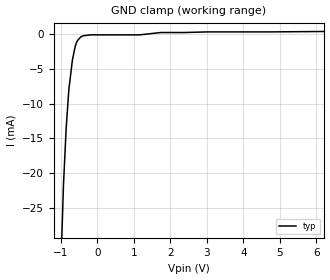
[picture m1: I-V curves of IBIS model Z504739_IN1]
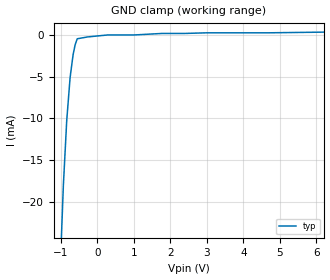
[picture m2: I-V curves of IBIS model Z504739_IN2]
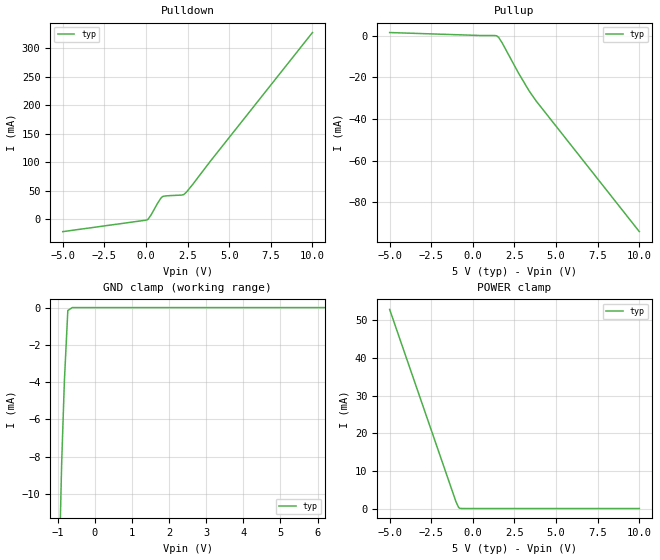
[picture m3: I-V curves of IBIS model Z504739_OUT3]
| YOU ARE ONLY AUTHORIZED TO USE THIS SOFTWARE
| ACCORDING TO LICENSOR'S LICENSE RESTRICTIONS.
[IBIS Ver] 3.1
[File Name] sn74ls90d.ibs
[File Rev] 2.0
[Source] Measured and created by ICX Technology
[Date] Friday 7/14/00 9:08:21 AM
[Copyright]
| (C) COPYRIGHT 1993-2000
| MENTOR GRAPHICS CORPORATION
| ICX STANDARD LIBRARY, ICX PROJECT MODELING,
| ICX CUSTOM MODELING, ICX VENDOR MODEL
| ALL RIGHTS RESERVED.
| THE FOLLOWING ARE TRADEMARKS OR SERVICE MARKS OF
| MENTOR GRAPHICS CORPORATION:ICX (R), ICX STANDARD
| LIBRARY(R), ICX PROJECT MODELING(R), ICX CUSTOM
| MODELING(R), qualityIBIS(TM), MODELVIEWER(TM),
| AND MODELEDITOR(TM)
| ALL COPIES OF SOFTWARE, INCLUDING BUT NOT LIMITED TO
| ANY MODIFICATIONS, ENHANCEMENTS OR DERIVATIVE WORKS,
| MUST CONTAIN ALL MENTOR GRAPHICS CORPORATION'S
| NOTICES AND LEGENDS, INCLUDING THOSE EMBEDDED IN
| SOFTWARE AND THOSE AFFIXED TO SOFTWARE MEDIUM
| AND CONTAINER, AS RECEIVED FROM MENTOR GRAPHICS
| CORPORATION.
|  ZAP Model Builder 2.7
[Component] SN74LS90D
[Manufacturer] OnSemiconductor
[Package]
| variable   typ   min   max
R_pkg  .155ohms NA NA
L_pkg  3.028nH NA NA
C_pkg  .381pF NA NA
[Pin] signal_name  model_name  R_pin  L_pin C_pin
1 _CP1 Z504739_IN1 .16 3.587n .407p
2 MR1 Z504739_IN2 .156 3.147n .387p
3 MR2 Z504739_IN2 .152 2.717n .367p
4 NC NC .148 2.297n .347p
5 VCC POWER .152 2.717n .367p
6 MS1 Z504739_IN2 .156 3.147n .387p
7 MS2 Z504739_IN2 .16 3.587n .407p
8 Q2 Z504739_OUT3 .16 3.587n .407p
9 Q1 Z504739_OUT3 .156 3.147n .387p
10 GROUND GND .152 2.717n .367p
11 Q3 Z504739_OUT3 .148 2.297n .347p
12 Q0 Z504739_OUT3 .152 2.717n .367p
13 NC NC .156 3.147n .387p
14 _CP0 Z504739_IN1 .16 3.587n .407p
| Models and submodels in the file (3): Z504739_IN1 (Input), Z504739_IN2 (Input), Z504739_OUT3 (Output)
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| (C) COPYRIGHT 1993-2000
| MENTOR GRAPHICS CORPORATION
| ICX STANDARD LIBRARY, ICX PROJECT MODELING,
| ICX CUSTOM MODELING, ICX VENDOR MODEL
| ALL RIGHTS RESERVED.
| THE FOLLOWING ARE TRADEMARKS OR SERVICE MARKS OF
| MENTOR GRAPHICS CORPORATION:ICX (R), ICX STANDARD
| LIBRARY(R), ICX PROJECT MODELING(R), ICX CUSTOM
| MODELING(R), qualityIBIS(TM), MODELVIEWER(TM),
| AND MODELEDITOR(TM)
| ALL COPIES OF SOFTWARE, INCLUDING BUT NOT LIMITED TO
| ANY MODIFICATIONS, ENHANCEMENTS OR DERIVATIVE WORKS,
| MUST CONTAIN ALL MENTOR GRAPHICS CORPORATION'S
| NOTICES AND LEGENDS, INCLUDING THOSE EMBEDDED IN
| SOFTWARE AND THOSE AFFIXED TO SOFTWARE MEDIUM
| AND CONTAINER, AS RECEIVED FROM MENTOR GRAPHICS
| CORPORATION.
| Model Application Version 1.89 2/18/99.
[Model] Z504739_IN1
Model_type Input
Vinl = 800.0mV
Vinh = 2.000V
C_comp 4.000pF NA NA
| variable typ   min   max
[Voltage Range] 5.000V NA NA
[GND Clamp Reference] 0.000V NA NA
[POWER Clamp Reference] 5.000V NA NA
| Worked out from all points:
|   GND clamp passes 1 mA (typ) near -0.54 V on its own axis
[GND Clamp]
-5V       -879mA     NA         NA
-1.096V   -49.63mA   NA         NA
-927.7mV  -21.69mA   NA         NA
-853.9mV  -13.54mA   NA         NA
-781.3mV  -8.044mA   NA         NA
-683.6mV  -3.784mA   NA         NA
-608.7mV  -1.852mA   NA         NA
-570.5mV  -1.237mA   NA         NA
-390.6mV  -285.2uA   NA         NA
1.159V    -151.6uA   NA         NA
1.743V    183.2uA    NA         NA
10V       479.5uA    NA         NA
[POWER Clamp]
-5V       0A         NA         NA
10V       0A         NA         NA
| (C) COPYRIGHT 1993-2000
| MENTOR GRAPHICS CORPORATION
| ICX STANDARD LIBRARY, ICX PROJECT MODELING,
| ICX CUSTOM MODELING, ICX VENDOR MODEL
| ALL RIGHTS RESERVED.
| THE FOLLOWING ARE TRADEMARKS OR SERVICE MARKS OF
| MENTOR GRAPHICS CORPORATION:ICX (R), ICX STANDARD
| LIBRARY(R), ICX PROJECT MODELING(R), ICX CUSTOM
| MODELING(R), qualityIBIS(TM), MODELVIEWER(TM),
| AND MODELEDITOR(TM)
| ALL COPIES OF SOFTWARE, INCLUDING BUT NOT LIMITED TO
| ANY MODIFICATIONS, ENHANCEMENTS OR DERIVATIVE WORKS,
| MUST CONTAIN ALL MENTOR GRAPHICS CORPORATION'S
| NOTICES AND LEGENDS, INCLUDING THOSE EMBEDDED IN
| SOFTWARE AND THOSE AFFIXED TO SOFTWARE MEDIUM
| AND CONTAINER, AS RECEIVED FROM MENTOR GRAPHICS
| CORPORATION.
| Model Application Version 1.89 2/18/99.
[Model] Z504739_IN2
Model_type Input
Vinl = 800.0mV
Vinh = 2.000V
C_comp 4.000pF NA NA
| variable typ   min   max
[Voltage Range] 5.000V NA NA
[GND Clamp Reference] 0.000V NA NA
[POWER Clamp Reference] 5.000V NA NA
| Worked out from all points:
|   GND clamp passes 1 mA (typ) near -0.59 V on its own axis
[GND Clamp]
-5V       -596.1mA   NA         NA
-1.108V   -38.66mA   NA         NA
-930.6mV  -18.05mA   NA         NA
-838.7mV  -10.26mA   NA         NA
-745.9mV  -5.093mA   NA         NA
-664.1mV  -2.362mA   NA         NA
-609.3mV  -1.192mA   NA         NA
-551.1mV  -453.6uA   NA         NA
287.2mV   9.191uA    NA         NA
1.025V    9.191uA    NA         NA
1.763V    186.5uA    NA         NA
10V       552.2uA    NA         NA
[POWER Clamp]
-5V       0A         NA         NA
10V       0A         NA         NA
| (C) COPYRIGHT 1993-2000
| MENTOR GRAPHICS CORPORATION
| ICX STANDARD LIBRARY, ICX PROJECT MODELING,
| ICX CUSTOM MODELING, ICX VENDOR MODEL
| ALL RIGHTS RESERVED.
| THE FOLLOWING ARE TRADEMARKS OR SERVICE MARKS OF
| MENTOR GRAPHICS CORPORATION:ICX (R), ICX STANDARD
| LIBRARY(R), ICX PROJECT MODELING(R), ICX CUSTOM
| MODELING(R), qualityIBIS(TM), MODELVIEWER(TM),
| AND MODELEDITOR(TM)
| ALL COPIES OF SOFTWARE, INCLUDING BUT NOT LIMITED TO
| ANY MODIFICATIONS, ENHANCEMENTS OR DERIVATIVE WORKS,
| MUST CONTAIN ALL MENTOR GRAPHICS CORPORATION'S
| NOTICES AND LEGENDS, INCLUDING THOSE EMBEDDED IN
| SOFTWARE AND THOSE AFFIXED TO SOFTWARE MEDIUM
| AND CONTAINER, AS RECEIVED FROM MENTOR GRAPHICS
| CORPORATION.
| Model Application Version 1.89 2/18/99.
[Model] Z504739_OUT3
Model_type Output
Vref=5.000V
Rref=2.000kohms
Cref=15.00pF
Vmeas=1.300V
C_comp 8.000pF NA NA
| variable typ   min   max
[Voltage Range] 5.000V NA NA
[POWER Clamp Reference] 5.000V NA NA
[Pullup Reference] 5.000V NA NA
[Pulldown Reference] 0.000V NA NA
[GND Clamp Reference] 0.000V NA NA
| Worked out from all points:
|   slope of the pulldown table from 0 to 0.75 V, typ, clamps not added: 23.4 ohm
|   slope of the pullup table from 0 to 0.75 V, typ, clamps not added: 6.19 kohm
|   GND clamp passes 1 mA (typ) near -0.75 V on its own axis
|   POWER clamp passes 1 mA (typ) near -0.93 V on its own axis
[GND Clamp]
-5V       -553.7mA   NA         NA
-1.113V   -29.5mA    NA         NA
-1.004V   -17.78mA   NA         NA
-893.5mV  -8.377mA   NA         NA
-820.3mV  -3.961mA   NA         NA
-727.3mV  -158.8uA   NA         NA
-606.1mV  0A         NA         NA
10V       0A         NA         NA
[Pulldown]
-5V       -21.56mA   NA         NA
9.766mV   -1.423mA   NA         NA
130.2mV   404.6uA    NA         NA
321.9mV   8.466mA    NA         NA
693.4mV   28mA       NA         NA
903.1mV   37.5mA     NA         NA
983.7mV   39.68mA    NA         NA
2.135V    42.45mA    NA         NA
2.314V    44.44mA    NA         NA
2.798V    60.87mA    NA         NA
3.848V    101.1mA    NA         NA
10V       327.2mA    NA         NA
[Pullup]
-5V       1.544mA    NA         NA
464mV     117.3uA    NA         NA
1.162V    117.3uA    NA         NA
1.323V    90.43uA    NA         NA
1.421V    -15.25uA   NA         NA
1.543V    -723uA     NA         NA
1.758V    -3.408mA   NA         NA
2.754V    -18.14mA   NA         NA
3.384V    -26.57mA   NA         NA
3.799V    -31.33mA   NA         NA
10V       -94.18mA   NA         NA
[POWER Clamp]
-5V       52.89mA    NA         NA
-1.012V   1.766mA    NA         NA
-852mV    254.3uA    NA         NA
-771mV    23.33uA    NA         NA
-514mV    0A         NA         NA
10V       0A         NA         NA
[Ramp]
| variable typ min max
dV/dt_r 1.775/8.962n NA NA
dV/dt_f 1.775/2.175n NA NA
R_load = 500.0Ohms
